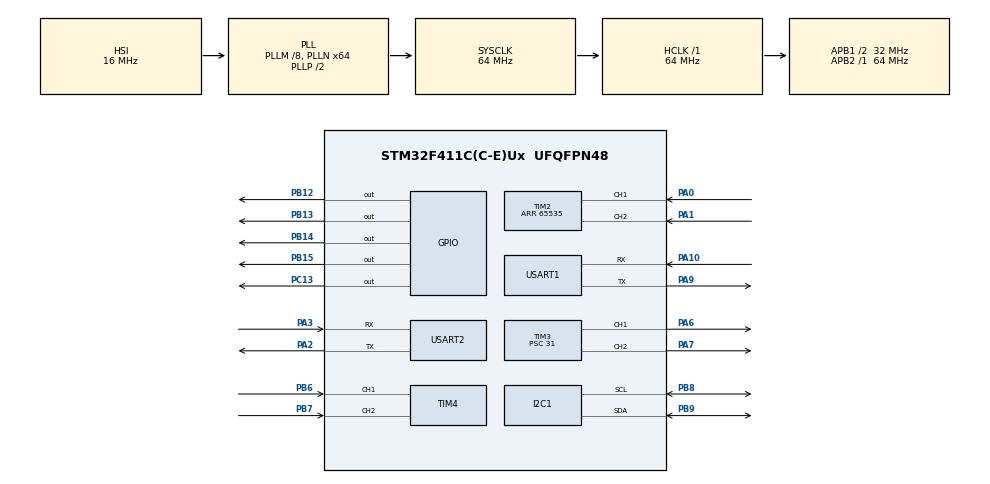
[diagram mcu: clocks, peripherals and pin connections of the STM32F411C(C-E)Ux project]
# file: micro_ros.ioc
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Dma.Request0=USART2_RX
Dma.Request1=USART2_TX
Dma.USART2_RX.0.Direction=DMA_PERIPH_TO_MEMORY
Dma.USART2_RX.0.FIFOMode=DMA_FIFOMODE_DISABLE
Dma.USART2_RX.0.Instance=DMA1_Stream5
Dma.USART2_RX.0.MemDataAlignment=DMA_MDATAALIGN_BYTE
Dma.USART2_RX.0.MemInc=DMA_MINC_ENABLE
Dma.USART2_RX.0.Mode=DMA_CIRCULAR
Dma.USART2_RX.0.PeriphDataAlignment=DMA_PDATAALIGN_BYTE
Dma.USART2_RX.0.PeriphInc=DMA_PINC_DISABLE
Dma.USART2_RX.0.Priority=DMA_PRIORITY_VERY_HIGH
Dma.USART2_TX.1.Direction=DMA_MEMORY_TO_PERIPH
Dma.USART2_TX.1.FIFOMode=DMA_FIFOMODE_DISABLE
Dma.USART2_TX.1.Instance=DMA1_Stream6
Dma.USART2_TX.1.MemDataAlignment=DMA_MDATAALIGN_BYTE
Dma.USART2_TX.1.MemInc=DMA_MINC_ENABLE
Dma.USART2_TX.1.Mode=DMA_NORMAL
Dma.USART2_TX.1.PeriphDataAlignment=DMA_PDATAALIGN_BYTE
Dma.USART2_TX.1.PeriphInc=DMA_PINC_DISABLE
Dma.USART2_TX.1.Priority=DMA_PRIORITY_VERY_HIGH
FREERTOS.Tasks01=myTask1,32,3000,Task_pub_sub,Default,NULL,Dynamic,NULL,NULL;myTask02,26,128,Task_IMU,Default,NULL,Dynamic,NULL,NULL;myTask03,26,128,Task_control,Default,NULL,Dynamic,NULL,NULL
FREERTOS.configUSE_NEWLIB_REENTRANT=1
Mcu.Family=STM32F4
Mcu.Name=STM32F411C(C-E)Ux
Mcu.Package=UFQFPN48
NVIC.DMA1_Stream5_IRQn=true\:5\:0\:false\:false\:true\:true\:false\:true\:true
NVIC.DMA1_Stream6_IRQn=true\:5\:0\:false\:false\:true\:true\:false\:true\:true
NVIC.PriorityGroup=NVIC_PRIORITYGROUP_4
NVIC.TIM1_UP_TIM10_IRQn=true\:5\:0\:false\:false\:true\:true\:true\:true\:true
NVIC.TIM2_IRQn=true\:5\:0\:false\:false\:true\:true\:true\:true\:true
NVIC.TIM4_IRQn=true\:5\:0\:false\:false\:true\:true\:true\:true\:true
NVIC.USART2_IRQn=true\:5\:0\:false\:false\:true\:true\:true\:true\:true
PA0-WKUP.Signal=S_TIM2_CH1_ETR
PA1.Signal=S_TIM2_CH2
PA10.Mode=Asynchronous
PA10.Signal=USART1_RX
PA13.Mode=Serial_Wire
PA13.Signal=SYS_JTMS-SWDIO
PA14.Mode=Serial_Wire
PA14.Signal=SYS_JTCK-SWCLK
PA2.Mode=Asynchronous
PA2.Signal=USART2_TX
PA3.Mode=Asynchronous
PA3.Signal=USART2_RX
PA6.Signal=S_TIM3_CH1
PA7.Signal=S_TIM3_CH2
PA9.Mode=Asynchronous
PA9.Signal=USART1_TX
PB12.Signal=GPIO_Output
PB13.Signal=GPIO_Output
PB14.Signal=GPIO_Output
PB15.Signal=GPIO_Output
PB6.Signal=S_TIM4_CH1
PB7.Signal=S_TIM4_CH2
PB8.Mode=I2C
PB8.Signal=I2C1_SCL
PB9.Mode=I2C
PB9.Signal=I2C1_SDA
PC13-ANTI_TAMP.Signal=GPIO_Output
ProjectManager.HeapSize=0x200
ProjectManager.StackSize=0x400
ProjectManager.TargetToolchain=STM32CubeIDE
RCC.48MHZClocksFreq_Value=32000000
RCC.AHBFreq_Value=64000000
RCC.APB1CLKDivider=RCC_HCLK_DIV2
RCC.APB1Freq_Value=32000000
RCC.APB1TimFreq_Value=64000000
RCC.APB2Freq_Value=64000000
RCC.APB2TimFreq_Value=64000000
RCC.CortexFreq_Value=64000000
RCC.HCLKFreq_Value=64000000
RCC.HSE_VALUE=25000000
RCC.HSI_VALUE=16000000
RCC.LSE_VALUE=32768
RCC.PLLM=8
RCC.PLLN=64
RCC.SYSCLKFreq_VALUE=64000000
RCC.SYSCLKSource=RCC_SYSCLKSOURCE_PLLCLK
RCC.VCOOutputFreq_Value=128000000
SH.S_TIM2_CH1_ETR.0=TIM2_CH1,Encoder_Interface
SH.S_TIM2_CH2.0=TIM2_CH2,Encoder_Interface
SH.S_TIM3_CH1.0=TIM3_CH1,PWM Generation1 CH1
SH.S_TIM3_CH2.0=TIM3_CH2,PWM Generation2 CH2
SH.S_TIM4_CH1.0=TIM4_CH1,Encoder_Interface
SH.S_TIM4_CH2.0=TIM4_CH2,Encoder_Interface
TIM1.Period=999
TIM1.Prescaler=63
TIM2.EncoderMode=TIM_ENCODERMODE_TI12
TIM2.Period=65535
TIM3.Channel-PWM\ Generation1\ CH1=TIM_CHANNEL_1
TIM3.Channel-PWM\ Generation2\ CH2=TIM_CHANNEL_2
TIM3.Period=999
TIM3.Prescaler=31
TIM4.EncoderMode=TIM_ENCODERMODE_TI12
USART1.VirtualMode=VM_ASYNC
USART2.VirtualMode=VM_ASYNC
VP_FREERTOS_VS_CMSIS_V2.Mode=CMSIS_V2
VP_TIM1_VS_ClockSourceINT.Mode=Internal
board=custom

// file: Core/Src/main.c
/* USER CODE BEGIN Header */
/**
  ******************************************************************************
  * @file           : main.c
  * @brief          : Main program body
  ******************************************************************************
  * @attention
  *
  * Copyright (c) 2025 STMicroelectronics.
  * All rights reserved.
  *
  * This software is licensed under terms that can be found in the LICENSE file
  * in the root directory of this software component.
  * If no LICENSE file comes with this software, it is provided AS-IS.
  *
  ******************************************************************************
  */
/* USER CODE END Header */
#include "main.h"
#include "cmsis_os.h"
#include "dma.h"
#include "i2c.h"
#include "tim.h"
#include "usart.h"
#include "gpio.h"

/* USER CODE BEGIN Includes */
#include <publish.h>
#include <Motor.h>
#include <mpu6050.h>
#include <pid.h>
/* USER CODE END Includes */

void SystemClock_Config(void);
void MX_FREERTOS_Init(void);

/* USER CODE BEGIN 0 */
Motor Left_motor;
Motor *pLeft = &Left_motor;
Motor Right_motor;
Motor *pRight = &Right_motor;
PID_TypeDef RPID;
PID_TypeDef LPID;
/* USER CODE END 0 */

int main(void)
{

  /* MCU Configuration--------------------------------------------------------*/

  /* Reset of all peripherals, Initializes the Flash interface and the Systick. */
  HAL_Init();

  /* Configure the system clock */
  SystemClock_Config();

  /* Initialize all configured peripherals */
  MX_GPIO_Init();
  MX_DMA_Init();
  MX_USART2_UART_Init();
  MX_TIM1_Init();
  MX_TIM2_Init();
  MX_TIM3_Init();
  MX_TIM4_Init();
  MX_USART1_UART_Init();
  MX_I2C1_Init();
  /* USER CODE BEGIN 2 */
  MPU6050_Init();
  MPU6050_CalibGz(&MPU6050,1000);
  MPU6050.Gz_bias = -0.275;
  HAL_TIM_Base_Start_IT(&htim1);
  HAL_TIM_Encoder_Start_IT(&htim2, TIM_CHANNEL_ALL); //LEFT
  HAL_TIM_Encoder_Start_IT(&htim4, TIM_CHANNEL_ALL); //RIGHT

	// --- PWM start ---
  HAL_TIM_PWM_Start(&htim3, TIM_CHANNEL_1);
  HAL_TIM_PWM_Start(&htim3, TIM_CHANNEL_2);
  HAL_NVIC_SetPriority(TIM1_UP_TIM10_IRQn, 0, 0);
  HAL_NVIC_EnableIRQ(TIM1_UP_TIM10_IRQn);

	// --- Base timer for control loop (interrupt) ---
    // Khoi tao 2 banh xe
    //80 3 0
  Motor_Init(&Left_motor, LEFT,GPIOB, GPIO_PIN_12, GPIOB, GPIO_PIN_13,&htim3, TIM_CHANNEL_1, &htim2, 80, 3, 0);
  Motor_Init(&Right_motor,RIGHT,GPIOB, GPIO_PIN_14, GPIOB, GPIO_PIN_15,&htim3, TIM_CHANNEL_2, &htim4, 85, 3, 0);

   // Khoi tao PID
  PID(&LPID, &(pLeft->cur_speed),&(pLeft->Pid_output),&(pLeft->target_speed),pLeft->kp, pLeft->ki, pLeft->kd,_PID_P_ON_E, _PID_CD_DIRECT);
  PID_SetMode(&LPID, _PID_MODE_AUTOMATIC);
  PID_SetSampleTime(&LPID, 10);
  PID_SetOutputLimits(&LPID, -999, 999);

  PID(&RPID,&(pRight->cur_speed),&(pRight->Pid_output), &(pRight->target_speed),pRight->kp, pRight->ki, pRight->kd,_PID_P_ON_E, _PID_CD_DIRECT);
  PID_SetMode(&RPID, _PID_MODE_AUTOMATIC);
  PID_SetSampleTime(&RPID, 10);
  PID_SetOutputLimits(&RPID, -999, 999);

  /* USER CODE END 2 */

  /* Init scheduler */
  osKernelInitialize();  /* Call init function for freertos objects (in cmsis_os2.c) */
  MX_FREERTOS_Init();

  /* Start scheduler */
  osKernelStart();

  /* We should never get here as control is now taken by the scheduler */

  /* Infinite loop */
  while (1)
  {

  }
}

void SystemClock_Config(void)
{
  RCC_OscInitTypeDef RCC_OscInitStruct = {0};
  RCC_ClkInitTypeDef RCC_ClkInitStruct = {0};

  /** Configure the main internal regulator output voltage
  */
  __HAL_RCC_PWR_CLK_ENABLE();
  __HAL_PWR_VOLTAGESCALING_CONFIG(PWR_REGULATOR_VOLTAGE_SCALE1);

  /** Initializes the RCC Oscillators according to the specified parameters
  * in the RCC_OscInitTypeDef structure.
  */
  RCC_OscInitStruct.OscillatorType = RCC_OSCILLATORTYPE_HSI;
  RCC_OscInitStruct.HSIState = RCC_HSI_ON;
  RCC_OscInitStruct.HSICalibrationValue = RCC_HSICALIBRATION_DEFAULT;
  RCC_OscInitStruct.PLL.PLLState = RCC_PLL_ON;
  RCC_OscInitStruct.PLL.PLLSource = RCC_PLLSOURCE_HSI;
  RCC_OscInitStruct.PLL.PLLM = 8;
  RCC_OscInitStruct.PLL.PLLN = 64;
  RCC_OscInitStruct.PLL.PLLP = RCC_PLLP_DIV2;
  RCC_OscInitStruct.PLL.PLLQ = 4;
  if (HAL_RCC_OscConfig(&RCC_OscInitStruct) != HAL_OK)
  {
    Error_Handler();
  }

  /** Initializes the CPU, AHB and APB buses clocks
  */
  RCC_ClkInitStruct.ClockType = RCC_CLOCKTYPE_HCLK|RCC_CLOCKTYPE_SYSCLK
                              |RCC_CLOCKTYPE_PCLK1|RCC_CLOCKTYPE_PCLK2;
  RCC_ClkInitStruct.SYSCLKSource = RCC_SYSCLKSOURCE_PLLCLK;
  RCC_ClkInitStruct.AHBCLKDivider = RCC_SYSCLK_DIV1;
  RCC_ClkInitStruct.APB1CLKDivider = RCC_HCLK_DIV2;
  RCC_ClkInitStruct.APB2CLKDivider = RCC_HCLK_DIV1;

  if (HAL_RCC_ClockConfig(&RCC_ClkInitStruct, FLASH_LATENCY_3) != HAL_OK)
  {
    Error_Handler();
  }
}

void Error_Handler(void)
{
  __disable_irq();
  while (1)
  {
  }
}

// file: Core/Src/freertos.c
/* USER CODE BEGIN Header */
/**
  ******************************************************************************
  * File Name          : freertos.c
  * Description        : Code for freertos applications
  ******************************************************************************
  * @attention
  *
  * Copyright (c) 2025 STMicroelectronics.
  * All rights reserved.
  *
  * This software is licensed under terms that can be found in the LICENSE file
  * in the root directory of this software component.
  * If no LICENSE file comes with this software, it is provided AS-IS.
  *
  ******************************************************************************
  */
/* USER CODE END Header */

#include "FreeRTOS.h"
#include "task.h"
#include "main.h"
#include "cmsis_os.h"

/* USER CODE BEGIN Includes */
#include "publish.h"
#include "usart.h"
/* USER CODE END Includes */

/* USER CODE BEGIN PD */
extern double vr_cur, vl_cur;
/* USER CODE END PD */

/* Definitions for myTask1 */
osThreadId_t myTask1Handle;
const osThreadAttr_t myTask1_attributes = {
  .name = "myTask1",
  .stack_size = 3000 * 4,
  .priority = (osPriority_t) osPriorityAboveNormal,
};
/* Definitions for myTask02 */
osThreadId_t myTask02Handle;
const osThreadAttr_t myTask02_attributes = {
  .name = "myTask02",
  .stack_size = 128 * 4,
  .priority = (osPriority_t) osPriorityNormal2,
};
/* Definitions for myTask03 */
osThreadId_t myTask03Handle;
const osThreadAttr_t myTask03_attributes = {
  .name = "myTask03",
  .stack_size = 128 * 4,
  .priority = (osPriority_t) osPriorityNormal2,
};

void Task_pub_sub(void *argument);
void Task_IMU(void *argument);
void Task_control(void *argument);

void MX_FREERTOS_Init(void); /* (MISRA C 2004 rule 8.1) */

void MX_FREERTOS_Init(void) {

  /* Create the thread(s) */
  /* creation of myTask1 */
  myTask1Handle = osThreadNew(Task_pub_sub, NULL, &myTask1_attributes);

  /* creation of myTask02 */
  myTask02Handle = osThreadNew(Task_IMU, NULL, &myTask02_attributes);

  /* creation of myTask03 */
  myTask03Handle = osThreadNew(Task_control, NULL, &myTask03_attributes);

}

void Task_pub_sub(void *argument)
{
  /* USER CODE BEGIN 5 */

	  // micro-ROS configuration

	  rmw_uros_set_custom_transport(
	    true,
	    (void *) &huart2,
	    cubemx_transport_open,
	    cubemx_transport_close,
	    cubemx_transport_write,
	    cubemx_transport_read);

	  rcl_allocator_t freeRTOS_allocator = rcutils_get_zero_initialized_allocator();
	  freeRTOS_allocator.allocate = microros_allocate;
	  freeRTOS_allocator.deallocate = microros_deallocate;
	  freeRTOS_allocator.reallocate = microros_reallocate;
	  freeRTOS_allocator.zero_allocate =  microros_zero_allocate;

	  if (!rcutils_set_default_allocator(&freeRTOS_allocator)) {
	      printf("Error on default allocators (line %d)\n", __LINE__);
	  }

	 // Initialize micro-ROS allocator
	 allocator = rcl_get_default_allocator();

	 // create init_options
	 rclc_support_init(&support, 0, NULL, &allocator);

	 //create node_sub
	 rclc_node_init_default(&node, "stm32_node","", &support);

	  // create publisher
	 rclc_publisher_init_default(
	    &odom_pub,
	    &node,
		ROSIDL_GET_MSG_TYPE_SUPPORT(nav_msgs, msg, Odometry),
	    "/odom/data");

	 rclc_publisher_init_default(
	     &imu_pub,
	     &node,
	     ROSIDL_GET_MSG_TYPE_SUPPORT(sensor_msgs, msg, Imu),
	     "/imu/data");

	//create subscriber
	rclc_subscription_init_default(
		&subscriber,
		&node,
		ROSIDL_GET_MSG_TYPE_SUPPORT(geometry_msgs, msg, Twist),
		"/cmd_vel");

	// create timer
	rcl_timer_t timer;
	const unsigned int timer_timeout = 1000;
	RCCHECK(rclc_timer_init_default(
		&timer,
		&support,
		RCL_MS_TO_NS(timer_timeout),
		timer_callback));

	// create executor
	rclc_executor_t executor = rclc_executor_get_zero_initialized_executor();
	rclc_executor_init(&executor, &support.context, 3, &allocator);

	// add subscriber callback to the executor
	rclc_executor_add_subscription(&executor, &subscriber, &msg_cmd_vel, &cmd_vel_callback, ON_NEW_DATA);
	// add time for executor
	rclc_executor_add_timer(&executor, &timer);

    if (rmw_uros_sync_session(100) != RMW_RET_OK) {
        printf("Time sync failed\n");
    }

    // init data odom
    odom_msg.header.frame_id.data = "odom";
    odom_msg.child_frame_id.data  = "base_link";

	while(1) {
		cnt_pub++;
		rclc_executor_spin_some(&executor, RCL_MS_TO_NS(10));
		vTaskDelay(pdMS_TO_TICKS(10));
	}
  /* USER CODE END 5 */
}

void Task_IMU(void *argument)
{
  /* USER CODE BEGIN Task_IMU */
  /* Infinite loop */
  while(1) {
	  MPU6050_Read_All(&MPU6050);
	  cnt_imu++;
	  vTaskDelay(pdMS_TO_TICKS(10));
  }
  /* USER CODE END Task_IMU */
}
///* USER CODE BEGIN Header_Task_control */
void HAL_TIM_PeriodElapsedCallback(TIM_HandleTypeDef *htim)
{
  if (htim->Instance == TIM1) {
      Motor_GetSpeed(&Left_motor);
      vl_cur = Left_motor.cur_speed;
	  PID_Compute(&LPID);
	  Motor_GetSpeed(&Right_motor);
	  vr_cur = Right_motor.cur_speed;
	  PID_Compute(&RPID);
      Motor_SetPwm(&Left_motor);
      Motor_SetPwm(&Right_motor);

   }
}
/* USER CODE END Header_Task_control */

void Task_control(void *argument)
{

    while (1)
    {
    	cnt_control++;
        Drive_VW(&Left_motor, &Right_motor, v_mps, omega);
        vTaskDelay(pdMS_TO_TICKS(10));  // mỗi 100ms in 1 lần
    }
}
